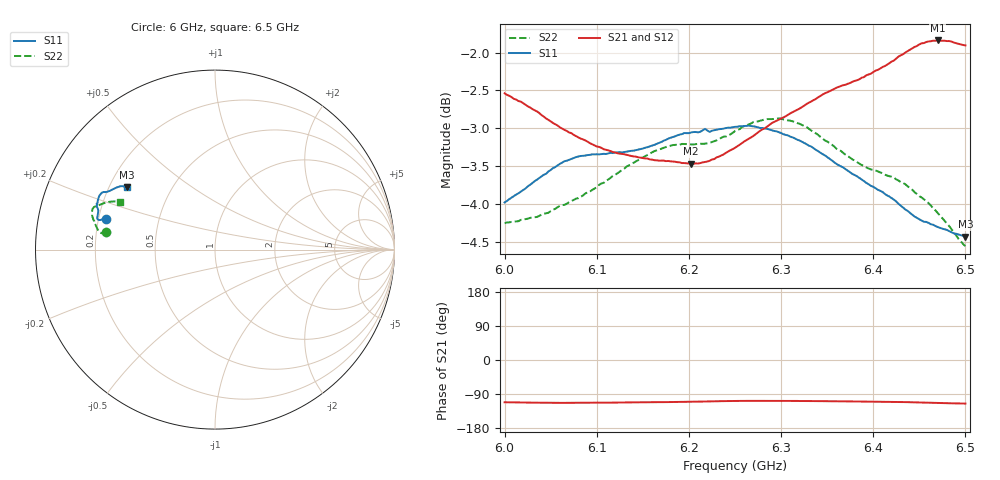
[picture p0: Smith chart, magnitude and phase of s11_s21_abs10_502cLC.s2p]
! MS46122B
! 1919307/90821646
! 7/29/2022 1:54:21 PM
! C:\USERS\PC_\DESKTOP\MEDICIONES\BANCHA ESTRECHA\6_65_GHZ\S11_S21_ABS10_502CL.S2P
! CHANNEL.1
! TR.MEASUREMENT
! CORRECTED.DATA
# GHZ S RI R 50.0
! FREQ.GHZ  S11RE  S11IM  S21RE  S21IM  S12RE  S12IM  S22RE  S22IM
!; PortSelection: Port_12
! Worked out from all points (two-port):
!   201 points, 6 GHz to 6.5 GHz, reference 50 ohm
!   highest |S21| = -1.84 dB at 6.47 GHz (marker M1); lowest = -3.5 dB at 6.202 GHz (marker M2)
!   |S21| within 3 dB of the highest: start of sweep to end of sweep
!   lowest |S11| = -4.4 dB at 6.5 GHz (marker M3), VSWR 4.01, Z = 13.6 + j14.8 ohm
!   |S11| at or under -10 dB: nowhere
!   |S22| runs from -4.6 to -2.9 dB; largest |S21 - S12| = 0.019
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6  -0.6088 0.1717  -0.2745 -0.6943  -0.2662 -0.6905  -0.6051 0.0973
6.005  -0.6114 0.1742  -0.2745 -0.6913  -0.2679 -0.6875  -0.6059 0.0979
6.035  -0.6334 0.166  -0.2798 -0.6704  -0.276 -0.6651  -0.6105 0.1006
6.065  -0.6524 0.1674  -0.2767 -0.6498  -0.2699 -0.6418  -0.6232 0.0939
6.085  -0.656 0.1751  -0.2714 -0.6411  -0.2624 -0.6334  -0.6327 0.0913
6.11  -0.6527 0.1938  -0.2617 -0.6333  -0.252 -0.6252  -0.646 0.1005
6.145  -0.65 0.2175  -0.2504 -0.6295  -0.2379 -0.6244  -0.662 0.1294
6.1675  -0.6534 0.229  -0.2437 -0.6284  -0.2304 -0.6234  -0.6695 0.1471
6.18  -0.6569 0.2356  -0.2407 -0.6288  -0.2262 -0.6246  -0.672 0.1541
6.2025  -0.6591 0.2462  -0.2313 -0.6297  -0.2157 -0.6285  -0.6729 0.1568
6.23  -0.655 0.2645  -0.2196 -0.6408  -0.2044 -0.6408  -0.6757 0.1631
6.25  -0.6493 0.2862  -0.2137 -0.6532  -0.2002 -0.6557  -0.6819 0.1791
6.2675  -0.6423 0.3036  -0.2141 -0.6646  -0.2 -0.6683  -0.6851 0.1983
6.29  -0.6309 0.3165  -0.2193 -0.6791  -0.2063 -0.6815  -0.6834 0.2201
6.31  -0.6211 0.3208  -0.2248 -0.6885  -0.2107 -0.6937  -0.6764 0.2354
6.335  -0.6075 0.321  -0.2322 -0.7014  -0.2187 -0.708  -0.661 0.2436
6.3575  -0.5879 0.3264  -0.2424 -0.7114  -0.2296 -0.7194  -0.642 0.2497
6.385  -0.5613 0.3406  -0.2555 -0.7186  -0.2456 -0.7296  -0.6192 0.2585
6.4175  -0.5326 0.3517  -0.2717 -0.7327  -0.2643 -0.7419  -0.6036 0.2626
6.44  -0.5125 0.3534  -0.2911 -0.7429  -0.2875 -0.7518  -0.5892 0.2663
6.47  -0.4998 0.3487  -0.3219 -0.7422  -0.3198 -0.7467  -0.5615 0.2686
6.5  -0.4909 0.3461  -0.3384 -0.7281  -0.3359 -0.7296  -0.5298 0.2639
